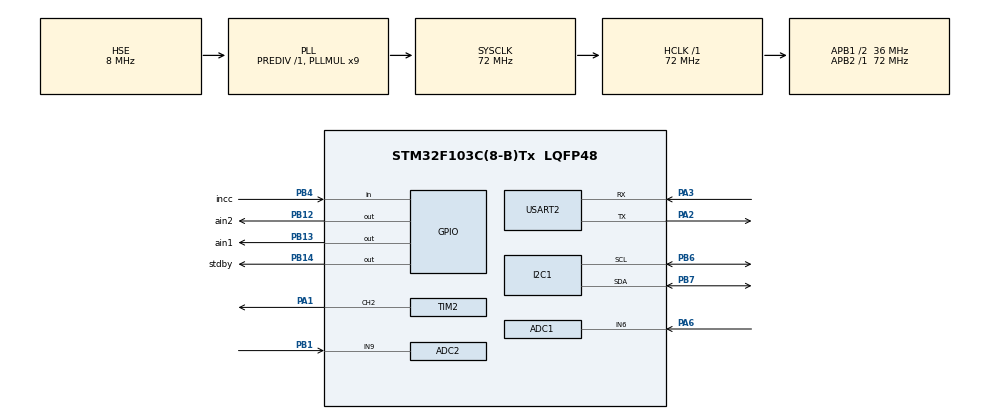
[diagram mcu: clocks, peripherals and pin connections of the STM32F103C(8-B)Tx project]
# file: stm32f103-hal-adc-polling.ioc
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ADC1.Channel-4\#ChannelRegularConversion=ADC_CHANNEL_6
ADC1.NbrOfConversionFlag=1
ADC1.Rank-4\#ChannelRegularConversion=1
ADC1.SamplingTime-4\#ChannelRegularConversion=ADC_SAMPLETIME_1CYCLE_5
ADC1.master=1
ADC2.Channel-1\#ChannelRegularConversion=ADC_CHANNEL_9
ADC2.NbrOfConversion=1
ADC2.NbrOfConversionFlag=1
ADC2.Rank-1\#ChannelRegularConversion=1
ADC2.SamplingTime-1\#ChannelRegularConversion=ADC_SAMPLETIME_55CYCLES_5
I2C1.I2C_Mode=I2C_Fast
Mcu.Family=STM32F1
Mcu.Name=STM32F103C(8-B)Tx
Mcu.Package=LQFP48
NVIC.PriorityGroup=NVIC_PRIORITYGROUP_4
NVIC.TIM3_IRQn=true\:0\:0\:false\:false\:true\:true\:true
PA1.Signal=S_TIM2_CH2
PA13.Mode=Serial_Wire
PA13.Signal=SYS_JTMS-SWDIO
PA14.Mode=Serial_Wire
PA14.Signal=SYS_JTCK-SWCLK
PA2.Mode=Asynchronous
PA2.Signal=USART2_TX
PA3.Mode=Asynchronous
PA3.Signal=USART2_RX
PA6.Signal=ADCx_IN6
PB1.Signal=ADCx_IN9
PB12.GPIO_Label=ain2
PB12.PinState=GPIO_PIN_SET
PB12.Signal=GPIO_Output
PB13.GPIO_Label=ain1
PB13.Signal=GPIO_Output
PB14.GPIO_Label=stdby
PB14.PinState=GPIO_PIN_SET
PB14.Signal=GPIO_Output
PB4.GPIO_Label=incc
PB4.Signal=GPIO_Input
PB6.Mode=I2C
PB6.Signal=I2C1_SCL
PB7.Mode=I2C
PB7.Signal=I2C1_SDA
PD0-OSC_IN.Mode=HSE-External-Oscillator
PD0-OSC_IN.Signal=RCC_OSC_IN
PD1-OSC_OUT.Mode=HSE-External-Oscillator
PD1-OSC_OUT.Signal=RCC_OSC_OUT
ProjectManager.HeapSize=0x200
ProjectManager.StackSize=0x400
ProjectManager.TargetToolchain=MDK-ARM V5
RCC.ADCPresc=RCC_ADCPCLK2_DIV6
RCC.AHBFreq_Value=72000000
RCC.APB1CLKDivider=RCC_HCLK_DIV2
RCC.APB1Freq_Value=36000000
RCC.APB1TimFreq_Value=72000000
RCC.APB2Freq_Value=72000000
RCC.APB2TimFreq_Value=72000000
RCC.HCLKFreq_Value=72000000
RCC.PLLMUL=RCC_PLL_MUL9
RCC.PLLSourceVirtual=RCC_PLLSOURCE_HSE
RCC.SYSCLKFreq_VALUE=72000000
RCC.SYSCLKSource=RCC_SYSCLKSOURCE_PLLCLK
RCC.USBFreq_Value=72000000
SH.ADCx_IN6.0=ADC1_IN6,IN6
SH.ADCx_IN9.0=ADC2_IN9,IN9
SH.S_TIM2_CH2.0=TIM2_CH2,PWM Generation2 CH2
TIM2.Channel-PWM\ Generation2\ CH2=TIM_CHANNEL_2
TIM2.Period=16-1
TIM2.Prescaler=7200-1
TIM3.Period=65535-1
TIM3.Prescaler=65535-1
USART2.VirtualMode=VM_ASYNC
VP_TIM2_VS_ClockSourceINT.Mode=Internal
VP_TIM3_VS_ClockSourceINT.Mode=Internal
board=stm32f103-hal-adc-polling

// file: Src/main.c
/* USER CODE BEGIN Header */
/**
  **************************
  * @file           : main.c
  * @brief          : Main program body
  **************************
  * @attention
  *
  * <h2><center>&copy; Copyright (c) 2019 STMicroelectronics.
  * All rights reserved.</center></h2>
  *
  * This software component is licensed by ST under BSD 3-Clause license,
  * the "License"; You may not use this file except in compliance with the
  * License. You may obtain a copy of the License at:
  *                        opensource.org/licenses/BSD-3-Clause
  *
  **************************
  */
/* USER CODE END Header */

#include "main.h"

/* USER CODE BEGIN Includes */
#include "ssd1306.h"
#include "i2c-lcd.h"
#include "string.h"
#include "main.h"
#include "fonts.h"
/* USER CODE END Includes */

ADC_HandleTypeDef hadc1;
ADC_HandleTypeDef hadc2;

I2C_HandleTypeDef hi2c1;

TIM_HandleTypeDef htim2;
TIM_HandleTypeDef htim3;

UART_HandleTypeDef huart2;

/* USER CODE BEGIN PV */
/* Private variables ---------------------------------------------------------*/
float adcValue;
float adciValue;
char strBuffer[32];
char strBuffer1[32];
char strbuffer2[32];
char strbuffer3[32];
uint32_t freq, increment=0;
char freqchar[6];
double gerilim;
float akim;
float onurnp;

/* USER CODE END PV */

void SystemClock_Config(void);
static void MX_GPIO_Init(void);
static void MX_ADC1_Init(void);
static void MX_USART2_UART_Init(void);
static void MX_I2C1_Init(void);
static void MX_TIM2_Init(void);
static void MX_TIM3_Init(void);
static void MX_ADC2_Init(void);
/* USER CODE BEGIN PFP */
/* Private function prototypes -----------------------------------------------*/
uint16_t ADC_Read(void);
uint16_t ADC_IRead(void);
uint8_t check;
int	zero;
/* USER CODE END PFP */

float	p;

/* USER CODE BEGIN 0 */
void read_freq(void)
{
	htim3.Instance->CNT = 0;  // set the count to 0

	while ((htim3.Instance->CNT) < 1000)  // while the count is less than 1000 ms
	{
		while (!(HAL_GPIO_ReadPin (GPIOB, incc_Pin)));  // wait for the pin to go high

		while ((HAL_GPIO_ReadPin (GPIOB, incc_Pin)));  // wait for the pin to go low

		increment++;  // increment the variable
	}

	freq = increment;  // freq = number of times pin goes high and low in  second

	increment = 0;
}

/* USER CODE END 0 */

int main(void)
{

  /* MCU Configuration--------------------------------------------------------*/

  /* Reset of all peripherals, Initializes the Flash interface and the Systick. */
  HAL_Init();

  /* Configure the system clock */
  SystemClock_Config();

  /* Initialize all configured peripherals */
  MX_GPIO_Init();
  MX_ADC1_Init();
  MX_USART2_UART_Init();
  MX_I2C1_Init();
  MX_TIM2_Init();
  MX_TIM3_Init();
  MX_ADC2_Init();
  /* USER CODE BEGIN 2 */
	lcd_init ();
	check = SSD1306_Init ();
	SSD1306_Fill (0);
	SSD1306_UpdateScreen(); //display
	HAL_TIM_PWM_Start(&htim2, TIM_CHANNEL_2);
	HAL_TIM_Base_Start (&htim3);

  /* USER CODE END 2 */
	float _zero = 0;
	for (int i = 0; i < 20; i++) {
		_zero += ADC_IRead();
		HAL_Delay(25);
	}
	_zero /= 20;
float	zero = _zero;
	zero = _zero;
	__HAL_TIM_SET_COMPARE(&htim2,TIM_CHANNEL_2,8);
  /* Infinite loop */
  while (1)
  {

    /* USER CODE BEGIN 3 */
read_freq();
		adcValue = ADC_Read();
		adciValue=ADC_IRead();
		float adcn=(adcValue*(12.0/4095.0));
gerilim=((adciValue/4096)*5);

		float I = (zero - ADC_IRead()) / 4095 * 5 / 0.185;
		HAL_Delay(500);

	int freq1=freq/2;
		int hiz1=freq*3;
	float duty=adcn*1.45;
sprintf(strbuffer2, "RPM=%d", freq1);
sprintf(strBuffer, "GERILIM %.2fV         ", adcn);
sprintf(strBuffer1, "AKIM %.2fmA         ", I);
		sprintf(strbuffer3, "HIZ %d M/dk         ", hiz1);
		if(duty<2){
		duty=2;
		}

		SSD1306_Fill(0);
		SSD1306_GotoXY (1,0);
		SSD1306_Puts (strBuffer, &Font_7x10, 1);
		SSD1306_GotoXY (1,10);
		SSD1306_Puts (strBuffer1, &Font_7x10, 1);
		SSD1306_GotoXY (1,20);
		SSD1306_Puts (strbuffer2, &Font_7x10, 1);
		SSD1306_GotoXY (1,30);
		SSD1306_Puts (strbuffer3, &Font_7x10, 1);
		SSD1306_UpdateScreen();

		__HAL_TIM_SET_COMPARE(&htim2,TIM_CHANNEL_2,duty);

		//HAL_UART_Transmit(&huart2, (uint8_t *)strBuffer, strlen(strBu+++ffer), 1);

  }
  /* USER CODE END 3 */
}

void SystemClock_Config(void)
{
  RCC_OscInitTypeDef RCC_OscInitStruct = {0};
  RCC_ClkInitTypeDef RCC_ClkInitStruct = {0};
  RCC_PeriphCLKInitTypeDef PeriphClkInit = {0};

  /** Initializes the CPU, AHB and APB busses clocks
  */
  RCC_OscInitStruct.OscillatorType = RCC_OSCILLATORTYPE_HSE;
  RCC_OscInitStruct.HSEState = RCC_HSE_ON;
  RCC_OscInitStruct.HSEPredivValue = RCC_HSE_PREDIV_DIV1;
  RCC_OscInitStruct.HSIState = RCC_HSI_ON;
  RCC_OscInitStruct.PLL.PLLState = RCC_PLL_ON;
  RCC_OscInitStruct.PLL.PLLSource = RCC_PLLSOURCE_HSE;
  RCC_OscInitStruct.PLL.PLLMUL = RCC_PLL_MUL9;
  if (HAL_RCC_OscConfig(&RCC_OscInitStruct) != HAL_OK)
  {
    Error_Handler();
  }
  /** Initializes the CPU, AHB and APB busses clocks
  */
  RCC_ClkInitStruct.ClockType = RCC_CLOCKTYPE_HCLK|RCC_CLOCKTYPE_SYSCLK
                              |RCC_CLOCKTYPE_PCLK1|RCC_CLOCKTYPE_PCLK2;
  RCC_ClkInitStruct.SYSCLKSource = RCC_SYSCLKSOURCE_PLLCLK;
  RCC_ClkInitStruct.AHBCLKDivider = RCC_SYSCLK_DIV1;
  RCC_ClkInitStruct.APB1CLKDivider = RCC_HCLK_DIV2;
  RCC_ClkInitStruct.APB2CLKDivider = RCC_HCLK_DIV1;

  if (HAL_RCC_ClockConfig(&RCC_ClkInitStruct, FLASH_LATENCY_2) != HAL_OK)
  {
    Error_Handler();
  }
  PeriphClkInit.PeriphClockSelection = RCC_PERIPHCLK_ADC;
  PeriphClkInit.AdcClockSelection = RCC_ADCPCLK2_DIV6;
  if (HAL_RCCEx_PeriphCLKConfig(&PeriphClkInit) != HAL_OK)
  {
    Error_Handler();
  }
}

static void MX_ADC1_Init(void)
{

  ADC_ChannelConfTypeDef sConfig = {0};

  /** Common config
  */
  hadc1.Instance = ADC1;
  hadc1.Init.ScanConvMode = ADC_SCAN_DISABLE;
  hadc1.Init.ContinuousConvMode = DISABLE;
  hadc1.Init.DiscontinuousConvMode = DISABLE;
  hadc1.Init.ExternalTrigConv = ADC_SOFTWARE_START;
  hadc1.Init.DataAlign = ADC_DATAALIGN_RIGHT;
  hadc1.Init.NbrOfConversion = 1;
  if (HAL_ADC_Init(&hadc1) != HAL_OK)
  {
    Error_Handler();
  }
  /** Configure Regular Channel
  */
  sConfig.Channel = ADC_CHANNEL_6;
  sConfig.Rank = ADC_REGULAR_RANK_1;
  sConfig.SamplingTime = ADC_SAMPLETIME_1CYCLE_5;
  if (HAL_ADC_ConfigChannel(&hadc1, &sConfig) != HAL_OK)
  {
    Error_Handler();
  }

}

static void MX_ADC2_Init(void)
{

  ADC_ChannelConfTypeDef sConfig = {0};

  /** Common config
  */
  hadc2.Instance = ADC2;
  hadc2.Init.ScanConvMode = ADC_SCAN_DISABLE;
  hadc2.Init.ContinuousConvMode = DISABLE;
  hadc2.Init.DiscontinuousConvMode = DISABLE;
  hadc2.Init.ExternalTrigConv = ADC_SOFTWARE_START;
  hadc2.Init.DataAlign = ADC_DATAALIGN_RIGHT;
  hadc2.Init.NbrOfConversion = 1;
  if (HAL_ADC_Init(&hadc2) != HAL_OK)
  {
    Error_Handler();
  }
  /** Configure Regular Channel
  */
  sConfig.Channel = ADC_CHANNEL_9;
  sConfig.Rank = ADC_REGULAR_RANK_1;
  sConfig.SamplingTime = ADC_SAMPLETIME_239CYCLES_5;
  if (HAL_ADC_ConfigChannel(&hadc2, &sConfig) != HAL_OK)
  {
    Error_Handler();
  }

}

static void MX_I2C1_Init(void)
{

  hi2c1.Instance = I2C1;
  hi2c1.Init.ClockSpeed = 400000;
  hi2c1.Init.DutyCycle = I2C_DUTYCYCLE_2;
  hi2c1.Init.OwnAddress1 = 0;
  hi2c1.Init.AddressingMode = I2C_ADDRESSINGMODE_7BIT;
  hi2c1.Init.DualAddressMode = I2C_DUALADDRESS_DISABLE;
  hi2c1.Init.OwnAddress2 = 0;
  hi2c1.Init.GeneralCallMode = I2C_GENERALCALL_DISABLE;
  hi2c1.Init.NoStretchMode = I2C_NOSTRETCH_DISABLE;
  if (HAL_I2C_Init(&hi2c1) != HAL_OK)
  {
    Error_Handler();
  }

}

static void MX_TIM2_Init(void)
{

  TIM_ClockConfigTypeDef sClockSourceConfig = {0};
  TIM_MasterConfigTypeDef sMasterConfig = {0};
  TIM_OC_InitTypeDef sConfigOC = {0};

  htim2.Instance = TIM2;
  htim2.Init.Prescaler = 7200-1;
  htim2.Init.CounterMode = TIM_COUNTERMODE_UP;
  htim2.Init.Period = 16-1;
  htim2.Init.ClockDivision = TIM_CLOCKDIVISION_DIV1;
  htim2.Init.AutoReloadPreload = TIM_AUTORELOAD_PRELOAD_DISABLE;
  if (HAL_TIM_Base_Init(&htim2) != HAL_OK)
  {
    Error_Handler();
  }
  sClockSourceConfig.ClockSource = TIM_CLOCKSOURCE_INTERNAL;
  if (HAL_TIM_ConfigClockSource(&htim2, &sClockSourceConfig) != HAL_OK)
  {
    Error_Handler();
  }
  if (HAL_TIM_PWM_Init(&htim2) != HAL_OK)
  {
    Error_Handler();
  }
  sMasterConfig.MasterOutputTrigger = TIM_TRGO_RESET;
  sMasterConfig.MasterSlaveMode = TIM_MASTERSLAVEMODE_DISABLE;
  if (HAL_TIMEx_MasterConfigSynchronization(&htim2, &sMasterConfig) != HAL_OK)
  {
    Error_Handler();
  }
  sConfigOC.OCMode = TIM_OCMODE_PWM1;
  sConfigOC.Pulse = 0;
  sConfigOC.OCPolarity = TIM_OCPOLARITY_HIGH;
  sConfigOC.OCFastMode = TIM_OCFAST_DISABLE;
  if (HAL_TIM_PWM_ConfigChannel(&htim2, &sConfigOC, TIM_CHANNEL_2) != HAL_OK)
  {
    Error_Handler();
  }
  HAL_TIM_MspPostInit(&htim2);

}

static void MX_TIM3_Init(void)
{

  TIM_ClockConfigTypeDef sClockSourceConfig = {0};
  TIM_MasterConfigTypeDef sMasterConfig = {0};

  htim3.Instance = TIM3;
  htim3.Init.Prescaler = 65535-1;
  htim3.Init.CounterMode = TIM_COUNTERMODE_UP;
  htim3.Init.Period = 65535-1;
  htim3.Init.ClockDivision = TIM_CLOCKDIVISION_DIV1;
  htim3.Init.AutoReloadPreload = TIM_AUTORELOAD_PRELOAD_DISABLE;
  if (HAL_TIM_Base_Init(&htim3) != HAL_OK)
  {
    Error_Handler();
  }
  sClockSourceConfig.ClockSource = TIM_CLOCKSOURCE_INTERNAL;
  if (HAL_TIM_ConfigClockSource(&htim3, &sClockSourceConfig) != HAL_OK)
  {
    Error_Handler();
  }
  sMasterConfig.MasterOutputTrigger = TIM_TRGO_RESET;
  sMasterConfig.MasterSlaveMode = TIM_MASTERSLAVEMODE_DISABLE;
  if (HAL_TIMEx_MasterConfigSynchronization(&htim3, &sMasterConfig) != HAL_OK)
  {
    Error_Handler();
  }

}

static void MX_USART2_UART_Init(void)
{

  huart2.Instance = USART2;
  huart2.Init.BaudRate = 115200;
  huart2.Init.WordLength = UART_WORDLENGTH_8B;
  huart2.Init.StopBits = UART_STOPBITS_1;
  huart2.Init.Parity = UART_PARITY_NONE;
  huart2.Init.Mode = UART_MODE_TX_RX;
  huart2.Init.HwFlowCtl = UART_HWCONTROL_NONE;
  huart2.Init.OverSampling = UART_OVERSAMPLING_16;
  if (HAL_UART_Init(&huart2) != HAL_OK)
  {
    Error_Handler();
  }

}

static void MX_GPIO_Init(void)
{
  GPIO_InitTypeDef GPIO_InitStruct = {0};

  /* GPIO Ports Clock Enable */
  __HAL_RCC_GPIOC_CLK_ENABLE();
  __HAL_RCC_GPIOD_CLK_ENABLE();
  __HAL_RCC_GPIOA_CLK_ENABLE();
  __HAL_RCC_GPIOB_CLK_ENABLE();

  /*Configure GPIO pin Output Level */
  HAL_GPIO_WritePin(GPIOB, ain2_Pin|stdby_Pin, GPIO_PIN_SET);

  /*Configure GPIO pin Output Level */
  HAL_GPIO_WritePin(ain1_GPIO_Port, ain1_Pin, GPIO_PIN_RESET);

  /*Configure GPIO pins : PC13 PC14 PC15 */
  GPIO_InitStruct.Pin = GPIO_PIN_13|GPIO_PIN_14|GPIO_PIN_15;
  GPIO_InitStruct.Mode = GPIO_MODE_ANALOG;
  HAL_GPIO_Init(GPIOC, &GPIO_InitStruct);

  /*Configure GPIO pins : PA0 PA4 PA5 PA7
                           PA8 PA9 PA10 PA11
                           PA12 PA15 */
  GPIO_InitStruct.Pin = GPIO_PIN_0|GPIO_PIN_4|GPIO_PIN_5|GPIO_PIN_7
                          |GPIO_PIN_8|GPIO_PIN_9|GPIO_PIN_10|GPIO_PIN_11
                          |GPIO_PIN_12|GPIO_PIN_15;
  GPIO_InitStruct.Mode = GPIO_MODE_ANALOG;
  HAL_GPIO_Init(GPIOA, &GPIO_InitStruct);

  /*Configure GPIO pins : PB0 PB2 PB10 PB11
                           PB15 PB3 PB5 PB8
                           PB9 */
  GPIO_InitStruct.Pin = GPIO_PIN_0|GPIO_PIN_2|GPIO_PIN_10|GPIO_PIN_11
                          |GPIO_PIN_15|GPIO_PIN_3|GPIO_PIN_5|GPIO_PIN_8
                          |GPIO_PIN_9;
  GPIO_InitStruct.Mode = GPIO_MODE_ANALOG;
  HAL_GPIO_Init(GPIOB, &GPIO_InitStruct);

  /*Configure GPIO pins : ain2_Pin ain1_Pin stdby_Pin */
  GPIO_InitStruct.Pin = ain2_Pin|ain1_Pin|stdby_Pin;
  GPIO_InitStruct.Mode = GPIO_MODE_OUTPUT_PP;
  GPIO_InitStruct.Pull = GPIO_NOPULL;
  GPIO_InitStruct.Speed = GPIO_SPEED_FREQ_LOW;
  HAL_GPIO_Init(GPIOB, &GPIO_InitStruct);

  /*Configure GPIO pin : incc_Pin */
  GPIO_InitStruct.Pin = incc_Pin;
  GPIO_InitStruct.Mode = GPIO_MODE_INPUT;
  GPIO_InitStruct.Pull = GPIO_NOPULL;
  HAL_GPIO_Init(incc_GPIO_Port, &GPIO_InitStruct);

}

/* USER CODE BEGIN 4 */
/**
  * @brief  Read ADC value from ADC data register.
  * @param  None
  * @retval uint32_t: adcVal
  */
uint16_t ADC_Read(void)
{
	uint16_t adcVal;

	/* Enable ADC and start ADC conversion */
	HAL_ADC_Start(&hadc1);
	/* Wait for ADC conversion to be completed */
	HAL_ADC_PollForConversion(&hadc1, 1);
	/* Get ADC value from ADC data register */
	adcVal = HAL_ADC_GetValue(&hadc1);
	/* Stop ADC conversion and disable ADC */
	HAL_ADC_Stop(&hadc1);

	return adcVal;
}

uint16_t ADC_IRead(void)
{
	uint16_t adciVal;

	/* Enable ADC and start ADC conversion */
	HAL_ADC_Start(&hadc2);
	/* Wait for ADC conversion to be completed */
	HAL_ADC_PollForConversion(&hadc2, 1);
	/* Get ADC value from ADC data register */
	adciVal = HAL_ADC_GetValue(&hadc2);
	/* Stop ADC conversion and disable ADC */
	HAL_ADC_Stop(&hadc2);

	return adciVal;
}
/* USER CODE END 4 */

void Error_Handler(void)
{
  while(1)
  {
  }
}

/************************ (C) COPYRIGHT STMicroelectronics *****END OF FILE****/
